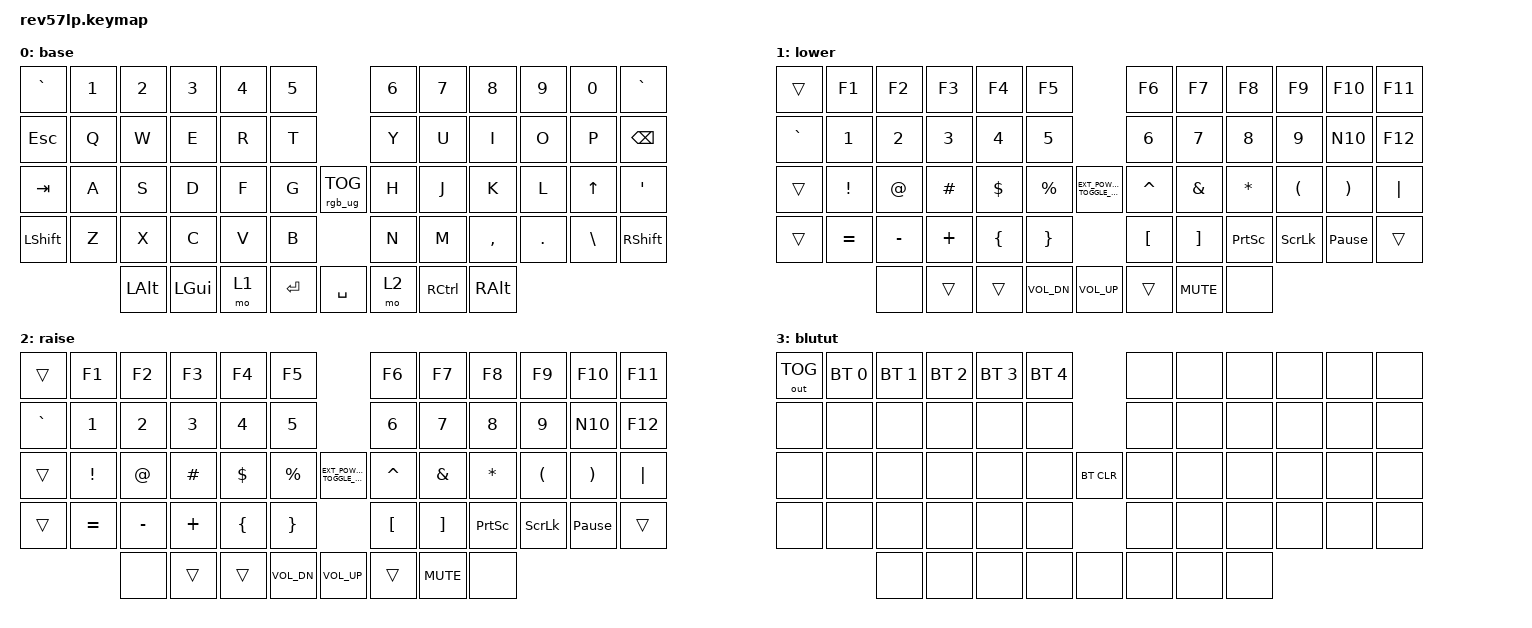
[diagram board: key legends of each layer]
/*
 * Copyright (c) 2022 The ZMK Contributors
 *
 * SPDX-License-Identifier: MIT
 */

#include <behaviors.dtsi>
#include <dt-bindings/zmk/keys.h>
#include <dt-bindings/zmk/bt.h>
#include <dt-bindings/zmk/outputs.h>
#include <dt-bindings/zmk/rgb.h>

#define DEFAULT 0
#define LOWER   1
#define RAISE   2

/ {
    conditional_layers {
        compatible = "zmk,conditional-layers";
        tri_layer {
            if-layers = <1 2>;
            then-layer = <3>;
        };
    };

    /* macros { */
    /*     forty_two: forty_two { */
    /*         label = "ZM_forty_two"; */
    /*         compatible = "zmk,behavior-macro"; */
    /*         #binding-cells = <0>; */
    /*         bindings */
    /*             = <&macro_tap &kp N4> */
    /*             , <&macro_tap &kp N2> */
    /*             ; */
    /*     }; */
    /* }; */

    /* combos { */
    /*     compatible = "zmk,combos"; */
    /**/
    /*     combo_BOOT { */
    /*         timeout-ms = <50>; */
    /*         key-positions = <4 5 6 7>; */
    /*         bindings = <&bootloader>; */
    /*     }; */
    /**/
    /*     combo_BT { */
    /*         timeout-ms = <50>; */
    /*         key-positions = <49 56>; */
    /*         bindings = <&mo BT>; */
    /*     }; */
    /* }; */

    keymap {
        compatible = "zmk,keymap";
        /*
        * QWERTY
        *                     ,-----------------------------------------,              ,-----------------------------------------.
        *                     |  `   |   1  |   2  |   3  |   4  |   5  |              |   6  |   7  |   8  |   9  |   0  |  `   |
        *                     |------+------+------+------+------+------|              |------+------+------+------+------+------|
        *                     | ESC  |   Q  |   W  |   E  |   R  |   T  |              |   Y  |   U  |   I  |   O  |   P  | Bspc |
        *                     |------+------+------+------+------+------|   ,------,   |------+------+------+------+------+------|
        *                     | Tab  |   A  |   S  |   D  |   F  |   G  |   |RGBTOG|   |   H  |   J  |   K  |   L  |   ;  |  '   |
        *                     |------+------+------+------+------+------|   '------'   |------+------+------+------+------+------|
        *                     |LShift|   Z  |   X  |   C  |   V  |   B  |              |   N  |   M  |   ,  |   .  |   /  |RShift|
        *                     `-----------------------------------------+-----,  ,-----+-----------------------------------------'
        *                                          | LAlt | LCTR |LOWER |Enter|  |Space|RAISE | RCTR | RAlt |
        *                                          '--------------------------'  '--------------------------'
        */

        base {
            bindings = <
              &kp GRAVE    &kp N1  &kp N2  &kp N3     &kp N4     &kp N5                                &kp N6     &kp N7    &kp N8       &kp N9      &kp N0          &kp GRAVE
              &kp ESC      &kp Q   &kp W   &kp E      &kp R      &kp T                                 &kp Y      &kp U     &kp I        &kp O       &kp P           &kp BACKSPACE
              &kp TAB      &kp A   &kp S   &kp D      &kp F      &kp G            &rgb_ug RGB_TOG          &kp H      &kp J     &kp K        &kp L       &kp UP_ARROW    &kp SINGLE_QUOTE
              &kp LSHIFT   &kp Z   &kp X   &kp C      &kp V      &kp B                                 &kp N      &kp M     &kp COMMA    &kp PERIOD  &kp BACKSLASH   &kp RSHIFT
                                          &kp LALT  &kp LGUI   &mo 1  &kp ENTER            &kp SPACE  &mo 2  &kp RCTRL  &kp RALT
            >;
        };
        /*
        * LOWER
        *                     ,-----------------------------------------,              ,-----------------------------------------.
        *                     |  tr  |  F1  |  F2  |  F3  |  F4  |  F5  |              |  F6  |  F7  |  F8  |  F9  |  F10 |  F11 |
        *                     |------+------+------+------+------+------|              |------+------+------+------+------+------|
        *                     |   `  |   1  |   2  |   3  |   4  |   5  |              |   6  |   7  |   8  |   9  |   0  |  F12 |
        *                     |------+------+------+------+------+------|   ,------,   |------+------+------+------+------+------|
        *                     |  tr  |   !  |   @  |   #  |   $  |   %  |   |PWRTOG|   |   ^  |   &  |   *  |   (  |   )  |   |  |
        *                     |------+------+------+------+------+------|   '------'   |------+------+------+------+------+------|
        *                     |  tr  |   =  |   -  |   +  |   {  |   }  |              |   [  |   ]  |   ;  |   :  |   \  |  tr  |
        *                     `-----------------------------------------+-----,  ,-----+-----------------------------------------'
        *                                          |   tr |   tr |  tr  | tr  |  |  tr |  tr  |  tr  |  tr  |
        *                                          '--------------------------'  '--------------------------'
        */       
        lower {
            bindings = <
              &trans     &kp F1     &kp F2     &kp F3    &kp F4    &kp F5                                         &kp F6     &kp F7      &kp F8     &kp F9     &kp F10          &kp F11
              &kp GRAVE  &kp N1     &kp N2     &kp N3    &kp N4    &kp N5                                         &kp N6     &kp N7      &kp N8     &kp N9     &kp N10          &kp F12
              &trans     &kp EXCL   &kp AT     &kp HASH  &kp DLLR  &kp PRCNT      &kp EXT_POWER_TOGGLE_CMD        &kp CARET  &kp AMPS    &kp ASTRK  &kp LPAR   &kp RPAR         &kp PIPE
              &trans     &kp EQUAL  &kp MINUS  &kp PLUS  &kp LBRC  &kp RBRC                                       &kp LBKT   &kp RBKT   &kp PSCRN  &kp SLCK   &kp PAUSE_BREAK  &trans
                                    &none      &trans    &trans     &kp C_VOL_DN          &kp C_VOL_UP  &trans     &kp C_MUTE  &none
            >;
        };

        /*
        * RAISE
        *                     ,-----------------------------------------,              ,-----------------------------------------.
        *                     |  tr  |  tr  |  tr  |  tr  |  tr  |  tr  |              |  tr  |  tr  |  tr  |  tr  |  tr  |  tr  |
        *                     |------+------+------+------+------+------|              |------+------+------+------+------+------|
        *                     |   `  |   1  |   2  |   3  |   4  |   5  |              |   6  |   7  |   8  |   9  |  0   | Bspc |
        *                     |------+------+------+------+------+------|   ,------,   |------+------+------+------+------+------|
        *                     |  tr  |   !  |   @  |   #  |   $  |   %  |   |      |   |   ^  |   &  |   *  |   (  |  )   |  |   |
        *                     |------+------+------+------+------+------|   '------'   |------+------+------+------+------+------|
        *                     |  tr  |   =  |   -  |   +  |   {  |   }  |              |   [  |   ]  |   ;  |   :  |  \   |  tr  |
        *                     `-----------------------------------------+-----,  ,-----+-----------------------------------------'
        *                                          |   tr |   tr |  tr  | tr  |  |  tr |  tr  |  tr  |  tr  |
        *                                          '--------------------------'  '--------------------------'
        */
        raise {
            bindings = <
              &trans     &kp F1     &kp F2     &kp F3    &kp F4    &kp F5                                         &kp F6     &kp F7      &kp F8     &kp F9     &kp F10          &kp F11
              &kp GRAVE  &kp N1     &kp N2     &kp N3    &kp N4    &kp N5                                         &kp N6     &kp N7      &kp N8     &kp N9     &kp N10          &kp F12
              &trans     &kp EXCL   &kp AT     &kp HASH  &kp DLLR  &kp PRCNT      &kp EXT_POWER_TOGGLE_CMD        &kp CARET  &kp AMPS    &kp ASTRK  &kp LPAR   &kp RPAR         &kp PIPE
              &trans     &kp EQUAL  &kp MINUS  &kp PLUS  &kp LBRC  &kp RBRC                                       &kp LBKT   &kp RBKT   &kp PSCRN  &kp SLCK   &kp PAUSE_BREAK  &trans
                                    &none      &trans    &trans     &kp C_VOL_DN          &kp C_VOL_UP  &trans     &kp C_MUTE  &none
            >;
        };
        /*
        * ADJUST
        *                     ,-----------------------------------------,              ,-----------------------------------------.
        *                     |      |      |      |      |      |      |              |      |      |      |      |      |      |
        *                     |------+------+------+------+------+------|              |------+------+------+------+------+------|
        *                     |      |      |      |      |      |      |              |      |      |      |      |      |      |
        *                     |------+------+------+------+------+------|   ,------,   |------+------+------+------+------+------|
        *                     |      |      |      |      |      |      |   |      |   |      |      |      |      |      |      |
        *                     |------+------+------+------+------+------|   '------'   |------+------+------+------+------+------|
        *                     |      |      |      |      |      |      |              |      |      |      |      |      |      |
        *                     `-----------------------------------------+-----,  ,-----+-----------------------------------------'
        *                                          |      |      |      |     |  |     |      |      |      |
        *                                          '--------------------------'  '--------------------------'
        */
        blutut {
            bindings = <
              &out OUT_TOG  &bt BT_SEL 0  &bt BT_SEL 1  &bt BT_SEL 2  &bt BT_SEL 3  &bt BT_SEL 4                            &none  &none  &none  &none  &none  &none
              &none         &none         &none         &none         &none         &none                                   &none  &none  &none  &none  &none  &none
              &none         &none         &none         &none         &none         &none                &bt BT_CLR         &none  &none  &none  &none  &none  &none
              &none         &none         &none         &none         &none         &none                                   &none  &none  &none  &none  &none  &none
                                          &none         &none         &none         &none              &none  &none  &none  &none
            >;
        };
    };
};

/*
 * Copyright (c) 2022 The ZMK Contributors
 *
 * SPDX-License-Identifier: MIT
 */

/* #include <behaviors.dtsi> */
/* #include <dt-bindings/zmk/keys.h> */
/* #include <dt-bindings/zmk/bt.h> */
/* #include <dt-bindings/zmk/outputs.h> */
/* #include <dt-bindings/zmk/rgb.h> */
/**/
/* #define DEFAULT 0 */
/* #define LOWER   1 */
/* #define RAISE   2 */
/**/
/* / { */
/*     conditional_layers { */
/*         compatible = "zmk,conditional-layers"; */
/*         tri_layer { */
/*             if-layers = <1 2>; */
/*             then-layer = <3>; */
/*         }; */
/*     }; */
/**/
/*     macros { */
/*         forty_two: forty_two { */
/*             label = "ZM_forty_two"; */
/*             compatible = "zmk,behavior-macro"; */
/*             #binding-cells = <0>; */
/*             bindings */
/*                 = <&macro_tap &kp N4> */
/*                 , <&macro_tap &kp N2> */
/*                 ; */
/*         }; */
/*     }; */
/**/
/*     keymap { */
/*         compatible = "zmk,keymap"; */
/*         default_layer { */
/*             //  ------------------------------------------------------------------------------------------------- */
/*             // |  GRAV |  1   |  2   |  3   |  4    |  5     |   6     |  7     |  8   |  9    |   0   | BSPC   | */
/*             // |  TAB  |  Q   |  W   |  E   |  R    |  T     |   Y     |  U     |  I   |  O    |   P   | DEL    | */
/*             // |  ESC  |  A   |  S   |  D   |  F    |  G     |   H     |  J     |  K   |  L    |   ;   |  '     | */
/*             // | SHIFT |  Z   |  X   |  C   |  V    |  B     |   N     |  M     |  ,   |  .    |   /   | RET    | */
/*             // |       | LGUI | LALT | LCTL | LOWER | SPACE  |  SPACE  |  RAISE | LEFT |  DOWN |   UP  | RIGHT  | */
/*             bindings = < */
/*                 &kp GRAVE    &kp N1     &kp N2    &kp N3    &kp N4     &kp N5                           &kp N6     &kp N7     &kp N8     &kp N9    &kp N0     &kp BSPC */
/*                 &kp TAB      &kp Q      &kp W     &kp E     &kp R      &kp T                            &kp Y      &kp U      &kp I      &kp O     &kp P      &kp DEL */
/*                 &mt LCTL ESC &kp A      &kp S     &kp D     &kp F      &kp G          &kp C_MUTE        &kp H      &kp J      &kp K      &kp L     &kp SEMI   &kp SQT */
/*                 &kp LSHIFT   &kp Z      &kp X     &kp C     &kp V      &kp B                            &kp N      &kp M      &kp COMMA  &kp DOT   &kp SLASH  &mt RSHIFT RET */
/*                                                   &kp LALT  &mo LOWER  &kp SPACE  &kp LEFT   &kp RIGHT  &kp SPACE  &mo RAISE  &kp K_CMENU */
/*                 >; */
/*         }; */
/*         lower { */
/*             // ------------------------------------------------------------------------------------------ */
/*             // |   ~   |  !   |  @   |  #   |  $   |  %   |   ^   |   &   |   *  |  (   |   )   | BSPC  | */
/*             // |   ~   |  !   |  @   |  #   |  $   |  %   |   ^   |   &   |   *  |  (   |   )   | DEL   | */
/*             // |  DEL  |  F1  |  F2  |  F3  |  F4  |  F5  |  F6   |   -   |   +  |  [   |   ]   |  |    | */
/*             // |       |  F7  |  F8  |  F9  |  F10 |  F11 |  F12  |       | LCTL | HOME |  END  |       | */
/*             // | LALT  |      |      |      |      |      |       |       | NEXT | VOL- | VOL+  | PLAY  | */
/*             bindings = < */
/*                 &kp LS(GRAVE)  &kp LS(N1)  &kp LS(N2)  &kp LS(N3)  &kp LS(N4)  &kp LS(N5)                              &kp LS(N6)  &kp LS(N7)  &kp LS(N8)  &kp LS(N9)        &kp LS(N0)         &kp BSPC */
/*                 &kp LS(GRAVE)  &kp LS(N1)  &kp LS(N2)  &kp LS(N3)  &kp LS(N4)  &kp LS(N5)                              &kp LS(N6)  &kp LS(N7)  &kp LS(N8)  &kp LS(N9)        &kp LS(N0)         &kp DEL */
/*                 &kp DEL        &kp F1      &kp F2      &kp F3      &kp F4      &kp F5              &kp C_PLAY          &kp F6      &kp MINUS   &kp PLUS    &kp LEFT_BRACKET  &kp RIGHT_BRACKET  &kp PIPE */
/*                 &kp LSHIFT     &kp F7      &kp F8      &kp F9      &kp F10     &kp F11                                 &kp F12     &none       &kp LCTRL   &kp HOME          &kp END            &none */
/*                                                        &none       &trans      &none       &kp C_VOL_DN  &kp C_VOL_UP  &none       &mo RAISE   &kp C_NEXT */
/*                 >; */
/*         }; */
/*         raise { */
/*             // ------------------------------------------------------------------------------------------- */
/*             // |   `   |  1   |  2   |  3   |  4   |   5   |   6   |   7   |   8  |  9   |   0   | BSPC  | */
/*             // |   `   |  1   |  2   |  3   |  4   |   5   |   6   |   7   |   8  |  9   |   0   | DEL   | */
/*             // |  DEL  |  F1  |  F2  |  F3  |  F4  |  F5   |  F6   |   -   |   =  |  [   |   ]   |  \    | */
/*             // |       |  F7  |  F8  |  F9  |  F10 |  F11  |  F12  |   #   |   \  | PGUP |  PGDN |       | */
/*             // |       |      |      |      |      | SHIFT |       |       | NEXT | VOL- |  VOL+ | PLAY  | */
/*             bindings = < */
/*                 &kp GRAVE  &kp N1  &kp N2  &kp N3  &kp N4    &kp N5                            &kp N6   &kp N7     &kp N8        &kp N9            &kp N0             &kp BSPC */
/*                 &kp GRAVE  &kp N1  &kp N2  &kp N3  &kp N4    &kp N5                            &kp N6   &kp N7     &kp N8        &kp N9            &kp N0             &kp DEL */
/*                 &kp DEL    &kp F1  &kp F2  &kp F3  &kp F4    &kp F5           &trans           &kp F6   &kp MINUS  &kp KP_EQUAL  &kp LEFT_BRACKET  &kp RIGHT_BRACKET  &kp BSLH */
/*                 &kp LSHIFT &kp F7  &kp F8  &kp F9  &kp F10   &kp F11                           &kp F12  &kp HASH   &kp BSLH      &kp PG_UP         &kp PG_DN          &none */
/*                                            &none   &mo LOWER &kp LSHIFT   &trans    &trans     &none    &trans     &kp C_NEXT */
/*                 >; */
/*         }; */
/*         adj { */
/*             //  ------------------------------------------------------------------------------------------------- */
/*             // |  GRAV |  1   |  2   |  3   |  4    |  5     |   6     |  7     |  8   |  9    |   0   | BSPC   | */
/*             // |  TAB  |  Q   |  W   |  E   |  R    |  T     |   Y     |  U     |  I   |  O    |   P   | DEL    | */
/*             // |  ESC  |  A   |  S   |  D   |  F    |  G     |   H     |  J     |  K   |  L    |   ;   |  '     | */
/*             // | SHIFT |  Z   |  X   |  C   |  V    |  B     |   N     |  M     |  ,   |  .    |   /   | RET    | */
/*             // |       | LGUI | LALT | LCTL | LOWER | SPACE  |  SPACE  |  RAISE | LEFT |  DOWN |   UP  | RIGHT  | */
/*             bindings = < */
/*                 &bootloader  &kp N1       &kp N2       &kp N3       &kp N4       &kp N5                           &kp N6     &kp N7     &kp N8     &kp N9    &kp N0     &kp BSPC */
/*                 &bt BT_CLR   &bt BT_SEL 0 &bt BT_SEL 1 &bt BT_SEL 2 &bt BT_SEL 3 &bt BT_SEL 4                     &kp Y      &kp U      &kp I      &kp O     &kp P      &kp DEL */
/*                 &out OUT_TOG &kp A        &kp S        &kp D        &kp F        &kp G          &forty_two        &kp H      &kp J      &kp K      &kp L     &kp SEMI   &kp SQT */
/*                 &kp LSHIFT   &kp Z        &kp X        &kp C        &kp V        &kp B                            &kp N      &kp M      &kp COMMA  &kp DOT   &kp SLASH  &mt RSHIFT RET */
/*                                                   &kp LALT  &trans     &kp SPACE  &rgb_ug RGB_EFR &rgb_ug RGB_EFF &kp SPACE  &trans     &kp K_CMENU */
/*                 >; */
/*         }; */
/*     }; */
/* }; */
